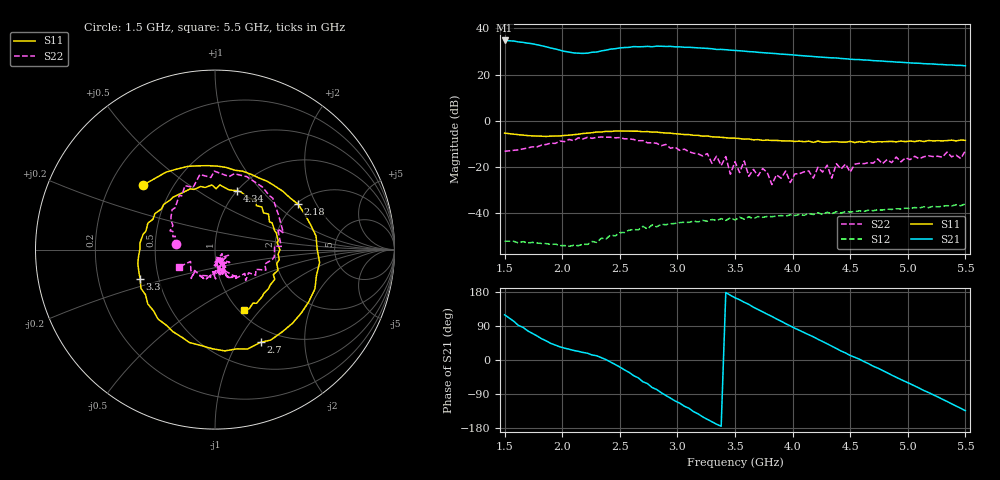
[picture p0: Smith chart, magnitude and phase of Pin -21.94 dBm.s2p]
! RsaToolbox (C) 2015 Rohde & Schwarz America
! Number of points: 100
! Number of ports: 2
! Balanced ports?: No
# Hz S RI R 50
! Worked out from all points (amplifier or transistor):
!   100 points, 1.5 GHz to 5.5 GHz, reference 50 ohm
!   highest |S21| = 34.8 dB at 1.5 GHz (marker M1)
!   |S21| within 3 dB of that: 2.574 GHz to 3.114 GHz (540.1 MHz wide, 19 % of centre)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
!   unconditionally stable (mu >= 1): start of sweep to end of sweep
!   at 2.18 GHz: K = 5.22, MAG = 31.2 dB, |S12| = -53.6 dB
!   at 3.54 GHz: K = 1.72, MAG = 31.1 dB, |S12| = -41.8 dB
!   at 5.5 GHz: K = 1.72, MAG = 25.0 dB, |S12| = -36.0 dB
!   S11 on the Smith chart (normalised r, x): 1.5 GHz: 0.34, +0.34; 2.18 GHz: 2.05, +1.44; 2.7 GHz: 0.81, -1.25; 3.3 GHz: 0.39, -0.16; 4.34 GHz: 1.00, +0.75; 5.5 GHz: 1.05, -0.83
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1.5e9  -0.4012 0.3588  -26.79 47.96  0.00161 -0.00183  -0.2156 0.0287
1.58e9  -0.2729 0.4315  -11.22 52.12  0.00115 -0.00215  -0.2258 0.0345
1.66e9  -0.1489 0.4641  3.342 49.81  0.000686 -0.00229  -0.2344 0.0715
1.82e9  0.0628 0.4575  23.48 35.22  -0.000125 -0.00218  -0.2452 0.1646
1.98e9  0.244 0.3994  27.8 19.25  -0.000578 -0.00188  -0.1985 0.3033
2.18e9  0.4632 0.253  27.05 9.824  -0.000538 -0.00203  -0.0228 0.4019
2.34e9  0.5691 0.00365  32.48 3.483  -0.00106 -0.00264  0.1762 0.4068
2.5e9  0.5205 -0.294  35.9 -12.01  -0.00228 -0.003  0.3222 0.2861
2.7e9  0.2537 -0.5167  21.71 -33.89  -0.00445 -0.00258  0.3691 0.0174
2.86e9  -0.0169 -0.552  2.71 -41.05  -0.0056 -0.000962  0.2766 -0.0809
3.02e9  -0.2357 -0.4564  -16.08 -36.59  -0.00597 0.00167  0.1872 -0.1289
3.14e9  -0.3425 -0.3414  -27.86 -26.61  -0.00597 0.00302  0.1154 -0.1605
3.3e9  -0.4171 -0.1634  -34.79 -10.66  -0.00488 0.00534  0.0431 -0.111
3.5e9  -0.418 0.0359  -32.1 9.092  -0.002 0.00674  0.0189 -0.1279
3.66e9  -0.3453 0.1694  -23.63 20.33  0.000289 0.00752  -0.00465 -0.0882
3.86e9  -0.2339 0.2921  -8.984 26.97  0.00388 0.00756  0.0172 -0.065
4.18e9  0.00609 0.3392  11.83 21.6  0.00824 0.00415  -0.000648 -0.0571
4.34e9  0.1225 0.3284  18.51 13.73  0.0095 0.00153  0.0221 -0.0525
4.58e9  0.261 0.2376  21.13 0.7734  0.0106 -0.00335  0.057 -0.1046
4.86e9  0.3523 0.0498  14.63 -12.22  0.00717 -0.00952  -0.0135 -0.1229
5.18e9  0.3336 -0.1653  1.261 -17.06  0.000452 -0.013  -0.0631 -0.1613
5.5e9  0.1614 -0.3388  -10.75 -11.18  -0.00911 -0.0129  -0.2013 -0.0969
